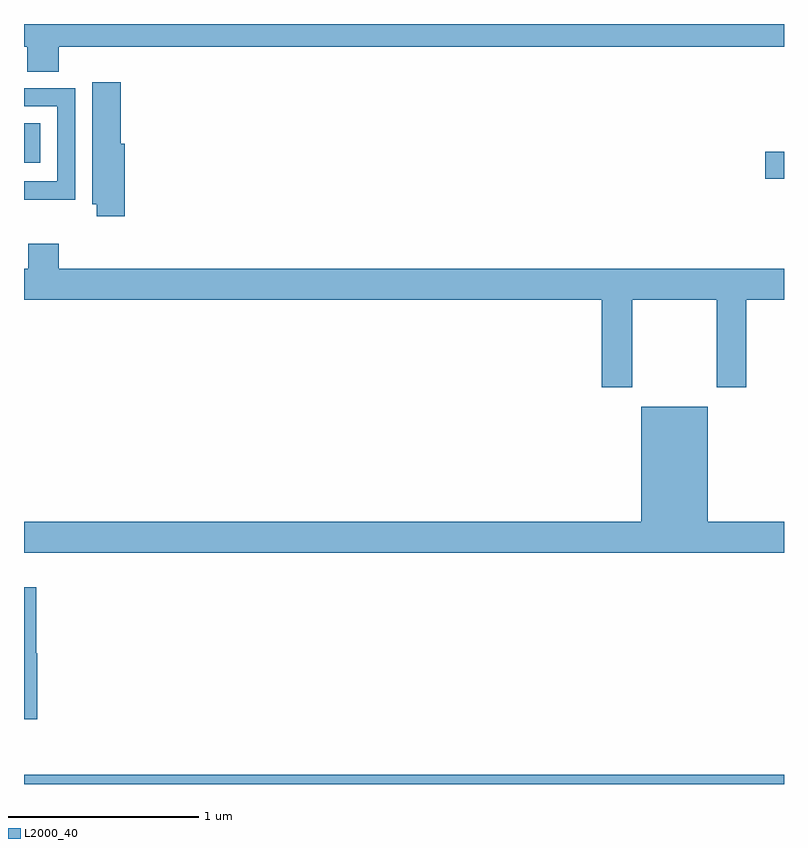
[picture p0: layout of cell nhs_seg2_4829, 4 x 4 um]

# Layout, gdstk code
import gdstk
lib = gdstk.Library(unit=1e-6, precision=1e-09)
def R(c, l, rs):  # rectangles x0, y0, x1, y1
    for r in rs: c.add(gdstk.rectangle(r[:2], r[2:], *l))
def P(c, l, *ps):  # polygons
    for p in ps: c.add(gdstk.Polygon(p, *l))
L2000_40 = (2000, 40)

nhs_seg2_4829 = lib.new_cell('nhs_seg2_4829')
R(nhs_seg2_4829, L2000_40, [(375,599.8,379,599.848), (378.9,602.986,379,603.128), (375,603.071,375.085,603.277)])
P(nhs_seg2_4829, L2000_40, [(375.182,603.68),(379,603.68),(379,603.8),(375,603.8),(375,603.68),(375.017,603.68),(375.017,603.549),(375.182,603.549)],
  [(375.53,603.171),(375.509,603.171),(375.509,603.493),(375.359,603.493),(375.359,602.852),(375.383,602.852),(375.383,602.787),(375.53,602.787)],
  [(375.27,603.462),(375,603.462),(375,603.366),(375.174,603.366),(375.174,602.973),(375,602.973),(375,602.875),(375.27,602.875)],
  [(378.201,602.348),(378.646,602.348),(378.646,601.887),(378.801,601.887),(378.801,602.348),(379,602.348),(379,602.512),(375.182,602.512),(375.182,602.644),(375.022,602.644),(375.022,602.512),(375,602.512),(375,602.348),(378.041,602.348),(378.041,601.887),(378.201,601.887)],
  [(378.248,601.786),(378.248,601.18),(375,601.18),(375,601.016),(379,601.016),(379,601.18),(378.598,601.18),(378.598,601.786)],
  [(375.07,600.489),(375.065,600.489),(375.065,600.835),(375,600.835),(375,600.141),(375.07,600.141)])

lib.write_gds('nhs_seg2_4829.gds')
